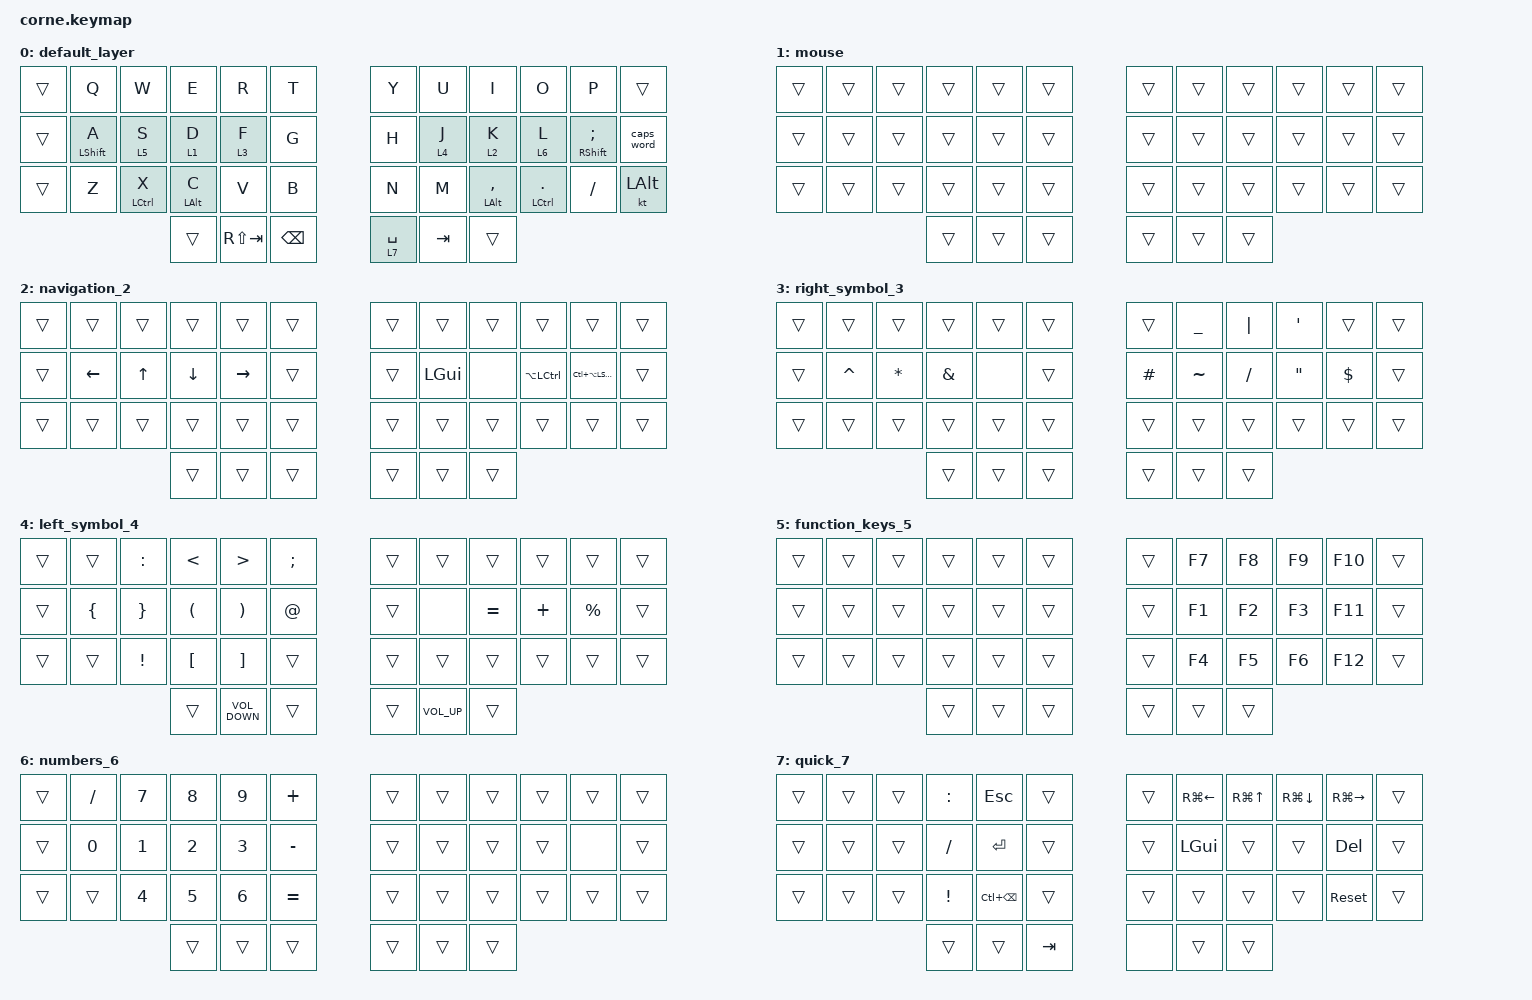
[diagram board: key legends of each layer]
/*
 * Copyright (c) 2020 The ZMK Contributors
 *
 * SPDX-License-Identifier: MIT
 */

#include <behaviors.dtsi>
#include <dt-bindings/zmk/keys.h>
#include <dt-bindings/zmk/keys.h>

&mt {
    flavor = "tap-preferred";
    tapping-term-ms = <150>;
};

/ {
    combos {
        compatible = "zmk,combos";

        jk_to_escape {
            bindings = <&kp ESCAPE>;
            key-positions = <19 20>;
        };
    };

    keymap {
        compatible = "zmk,keymap";

        default_layer {
            // -----------------------------------------------------------------------------------------
            // |  TAB |  Q  |  W  |  E  |  R  |  T  |   |  Y  |  U   |  I  |  O  |  P  | BSPC |
            // | CTRL |  A  |  S  |  D  |  F  |  G  |   |  H  |  J   |  K  |  L  |  ;  |  '   |
            // | SHFT |  Z  |  X  |  C  |  V  |  B  |   |  N  |  M   |  ,  |  .  |  /  | ESC  |
            //                    | GUI | LWR | SPC |   | ENT | RSE  | ALT |

            bindings = <
&trans  &kp Q             &kp W               &kp E           &kp R        &kp T            &kp Y        &kp U    &kp I               &kp O                    &kp P                      &trans
&trans  &mt LEFT_SHIFT A  &lt 5 S             &lt 1 D         &lt 3 F      &kp G            &kp H        &lt 4 J  &lt 2 K             &lt 6 L                  &mt RIGHT_SHIFT SEMICOLON  &caps_word
&trans  &kp Z             &mt LEFT_CONTROL X  &mt LEFT_ALT C  &kp V        &kp B            &kp N        &kp M    &mt LEFT_ALT COMMA  &mt LEFT_CONTROL PERIOD  &kp FSLH                   &kt LEFT_ALT
                                              &trans          &kp RS(TAB)  &kp BACKSPACE    &lt 7 SPACE  &kp TAB  &trans
            >;
        };

        mouse {
            bindings = <
&trans  &trans  &trans  &trans  &trans  &trans    &trans  &trans  &trans  &trans  &trans  &trans
&trans  &trans  &trans  &trans  &trans  &trans    &trans  &trans  &trans  &trans  &trans  &trans
&trans  &trans  &trans  &trans  &trans  &trans    &trans  &trans  &trans  &trans  &trans  &trans
                        &trans  &trans  &trans    &trans  &trans  &trans
            >;
        };

        navigation_2 {
            bindings = <
&trans  &trans    &trans  &trans    &trans     &trans    &trans  &trans    &trans  &trans         &trans             &trans
&trans  &kp LEFT  &kp UP  &kp DOWN  &kp RIGHT  &trans    &trans  &kp LGUI  &none   &kp LA(LCTRL)  &kp LC(LA(LSHFT))  &trans
&trans  &trans    &trans  &trans    &trans     &trans    &trans  &trans    &trans  &trans         &trans             &trans
                          &trans    &trans     &trans    &trans  &trans    &trans
            >;
        };

        right_symbol_3 {
            bindings = <
&trans  &trans     &trans        &trans    &trans  &trans    &trans    &kp UNDER  &kp PIPE   &kp SQT            &trans      &trans
&trans  &kp CARET  &kp ASTERISK  &kp AMPS  &none   &trans    &kp HASH  &kp TILDE  &kp SLASH  &kp DOUBLE_QUOTES  &kp DOLLAR  &trans
&trans  &trans     &trans        &trans    &trans  &trans    &trans    &trans     &trans     &trans             &trans      &trans
                                 &trans    &trans  &trans    &trans    &trans     &trans
            >;
        };

        left_symbol_4 {
            bindings = <
&trans  &trans          &kp COLON        &kp LESS_THAN         &kp GREATER_THAN       &kp SEMICOLON    &trans  &trans           &trans     &trans    &trans       &trans
&trans  &kp LEFT_BRACE  &kp RIGHT_BRACE  &kp LEFT_PARENTHESIS  &kp RIGHT_PARENTHESIS  &kp AT_SIGN      &trans  &none            &kp EQUAL  &kp PLUS  &kp PERCENT  &trans
&trans  &trans          &kp EXCLAMATION  &kp LEFT_BRACKET      &kp RIGHT_BRACKET      &trans           &trans  &trans           &trans     &trans    &trans       &trans
                                         &trans                &kp C_VOLUME_DOWN      &trans           &trans  &kp C_VOLUME_UP  &trans
            >;
        };

        function_keys_5 {
            bindings = <
&trans  &trans  &trans  &trans  &trans  &trans    &trans  &kp F7  &kp F8  &kp F9  &kp F10  &trans
&trans  &trans  &trans  &trans  &trans  &trans    &trans  &kp F1  &kp F2  &kp F3  &kp F11  &trans
&trans  &trans  &trans  &trans  &trans  &trans    &trans  &kp F4  &kp F5  &kp F6  &kp F12  &trans
                        &trans  &trans  &trans    &trans  &trans  &trans
            >;
        };

        numbers_6 {
            bindings = <
&trans  &kp FSLH  &kp N7  &kp N8  &kp N9  &kp PLUS     &trans  &trans  &trans  &trans  &trans  &trans
&trans  &kp N0    &kp N1  &kp N2  &kp N3  &kp MINUS    &trans  &trans  &trans  &trans  &none   &trans
&trans  &trans    &kp N4  &kp N5  &kp N6  &kp EQUAL    &trans  &trans  &trans  &trans  &trans  &trans
                          &trans  &trans  &trans       &trans  &trans  &trans
            >;
        };

        quick_7 {
            bindings = <
&trans  &trans  &trans  &kp COLON        &kp ESC            &trans     &trans  &kp RG(LEFT)  &kp RG(UP_ARROW)  &kp RG(DOWN)  &kp RG(RIGHT)  &trans
&trans  &trans  &trans  &kp FSLH         &kp ENTER          &trans     &trans  &kp LGUI      &trans            &trans        &kp DELETE     &trans
&trans  &trans  &trans  &kp EXCLAMATION  &kp LC(BACKSPACE)  &trans     &trans  &trans        &trans            &trans        &sys_reset     &trans
                        &trans           &trans             &kp TAB    &none   &trans        &trans
            >;
        };
    };
};
